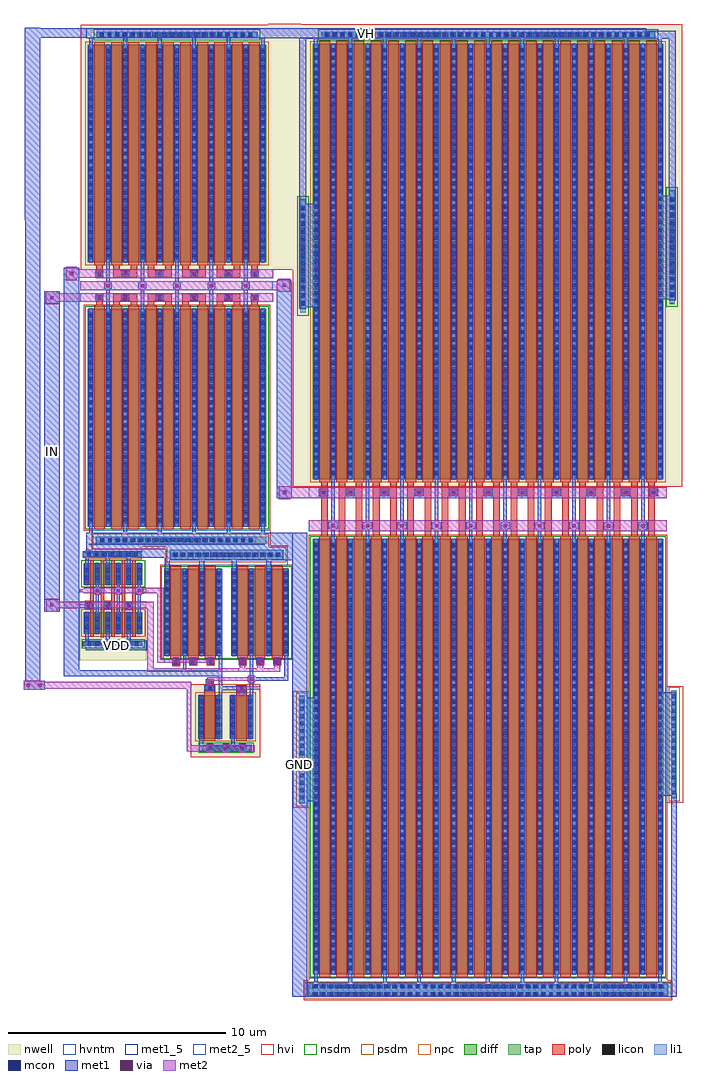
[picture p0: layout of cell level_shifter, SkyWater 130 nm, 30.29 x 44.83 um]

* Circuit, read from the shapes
.subckt level_shifter GND IN VDD VH
XM1 cruzados_3/IN1 IN GND GND sky130_fd_pr__nfet_01v8 w=1 l=0.15 m=5
XM2 inv_400_1/IN IN GND GND sky130_fd_pr__nfet_g5v0d10v5 w=10 l=0.5 m=10
XM3 cruzados_3/OUT cruzados_3/IN1 GND GND sky130_fd_pr__nfet_g5v0d10v5 w=4 l=0.5 m=3
XM4 n1 IN GND GND sky130_fd_pr__nfet_g5v0d10v5 w=4 l=0.5 m=3
XM5 inv_400_1/OUT inv_400_1/IN GND GND sky130_fd_pr__nfet_g5v0d10v5 w=20 l=0.5 m=20
XM6 cruzados_3/IN1 IN VDD VDD sky130_fd_pr__pfet_01v8 w=1 l=0.15 m=5
XM7 inv_400_1/IN cruzados_3/OUT VH VH sky130_fd_pr__pfet_g5v0d10v5 w=10 l=0.5 m=10
XM8 cruzados_3/OUT n1 VH VH sky130_fd_pr__pfet_g5v0d10v5 w=2 l=0.5
XM9 n1 cruzados_3/OUT VH VH sky130_fd_pr__pfet_g5v0d10v5 w=2 l=0.5
XM10 inv_400_1/OUT inv_400_1/IN VH VH sky130_fd_pr__pfet_g5v0d10v5 w=20 l=0.5 m=20
.ends

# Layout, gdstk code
import gdstk
lib = gdstk.Library(unit=1e-6, precision=1e-09)
def R(c, l, rs):  # rectangles x0, y0, x1, y1
    for r in rs: c.add(gdstk.rectangle(r[:2], r[2:], *l))
def A(c, l, x, y, w, h, nx, ny, dx, dy):  # array of equal rectangles
    R(c, l, [(x+i*dx, y+j*dy, x+i*dx+w, y+j*dy+h) for i in range(nx) for j in range(ny)])
nwell = (64, 20)
diff = (65, 20)
tap = (65, 44)
poly = (66, 20)
licon = (66, 44)
li1 = (67, 20)
mcon = (67, 44)
met1_5 = (68, 5)
met1 = (68, 20)
via = (68, 44)
met2_5 = (69, 5)
met2 = (69, 20)
hvi = (75, 20)
nsdm = (93, 44)
psdm = (94, 20)
npc = (95, 20)
hvntm = (125, 20)

sky130_fd_pr__pfet_g5v0d = lib.new_cell('sky130_fd_pr__pfet_g5v0d10v5_VEZS85')
R(sky130_fd_pr__pfet_g5v0d, nwell, [(-4.275,-5.31,4.275,5.31)])
R(sky130_fd_pr__pfet_g5v0d, diff, [(-4.095,-5,4.095,5)])
A(sky130_fd_pr__pfet_g5v0d, poly, -3.805, -5.13, 0.5, 10.26, 10, 1, 0.79, 0)
A(sky130_fd_pr__pfet_g5v0d, licon, -4.035, -4.845, 0.17, 0.17, 11, 29, 0.79, 0.34)
A(sky130_fd_pr__pfet_g5v0d, li1, -4.035, -5.02, 0.17, 10.04, 11, 1, 0.79, 0)
A(sky130_fd_pr__pfet_g5v0d, mcon, -4.035, -4.765, 0.17, 0.17, 11, 27, 0.79, 0.36)
A(sky130_fd_pr__pfet_g5v0d, met1, -4.065, -5, 0.23, 10, 11, 1, 0.79, 0)
R(sky130_fd_pr__pfet_g5v0d, hvi, [(-4.275,-5.31,4.275,-5.185), (-4.28,-5.185,4.28,5.185), (-4.275,5.185,4.275,5.31)])
R(sky130_fd_pr__pfet_g5v0d, psdm, [(-4.22,-5.125,4.22,5.125)])

sky130_fd_pr__nfet_g5v0d = lib.new_cell('sky130_fd_pr__nfet_g5v0d10v5_PVZBWB')
R(sky130_fd_pr__nfet_g5v0d, diff, [(-4.095,-5,4.095,5)])
A(sky130_fd_pr__nfet_g5v0d, poly, -3.805, -5.13, 0.5, 10.26, 10, 1, 0.79, 0)
A(sky130_fd_pr__nfet_g5v0d, licon, -4.035, -4.845, 0.17, 0.17, 11, 29, 0.79, 0.34)
A(sky130_fd_pr__nfet_g5v0d, li1, -4.035, -5.02, 0.17, 10.04, 11, 1, 0.79, 0)
A(sky130_fd_pr__nfet_g5v0d, mcon, -4.035, -4.765, 0.17, 0.17, 11, 27, 0.79, 0.36)
A(sky130_fd_pr__nfet_g5v0d, met1, -4.065, -5, 0.23, 10, 11, 1, 0.79, 0)
R(sky130_fd_pr__nfet_g5v0d, hvi, [(-4.28,-5.185,4.28,5.185)])
R(sky130_fd_pr__nfet_g5v0d, nsdm, [(-4.22,-5.125,4.22,5.125)])
R(sky130_fd_pr__nfet_g5v0d, hvntm, [(-4.28,-5.185,4.28,5.185)])

cont_poly_min = lib.new_cell('cont_poly_min')
R(cont_poly_min, poly, [(-0.165,0.165,0.165,0.495)])
R(cont_poly_min, licon, [(-0.085,0.245,0.085,0.415)])
R(cont_poly_min, li1, [(-0.165,0.245,0.165,0.415)])
R(cont_poly_min, mcon, [(-0.085,0.245,0.085,0.415)])
R(cont_poly_min, met1, [(-0.145,0.215,0.145,0.445)])
R(cont_poly_min, npc, [(-0.185,0.145,0.185,0.515)])

stage_100 = lib.new_cell('stage_100')
R(stage_100, nwell, [(-0.05,-0.03,8.8,11.22)])
R(stage_100, tap, [(0.64,-12.63,8.07,-12.29), (0.67,10.63,8.08,10.89)])
A(stage_100, poly, 1.46, -2.48, 0.3, 1.01, 4, 1, 0.79, 0)
A(stage_100, poly, 4.62, -2.48, 0.3, 1, 4, 1, 0.79, 0)
A(stage_100, poly, 4.62, -1.15, 0.3, 0.01, 4, 1, 0.79, 0)
A(stage_100, poly, 1.46, -0.39, 0.3, 0.01, 4, 1, 0.79, 0)
A(stage_100, poly, 4.62, -0.06, 0.3, 0.36, 4, 1, 0.79, 0)
A(stage_100, poly, 1.46, -0.05, 0.3, 0.35, 4, 1, 0.79, 0)
R(stage_100, poly, [(7.78,-2.48,8.08,-1.12), (0.67,-2.43,0.97,-1.12), (4.62,-1.48,5.71,-1.15), (6.2,-1.48,7.29,-1.15), (1.46,-1.47,2.55,-1.14), (3.04,-1.47,4.13,-1.14), (0.67,-0.42,0.97,0.25), (7.78,-0.42,8.08,0.3), (4.62,-0.39,5.71,-0.06), (6.2,-0.39,7.29,-0.06), (1.46,-0.38,2.55,-0.05), (3.04,-0.38,4.13,-0.05)])
A(stage_100, licon, 0.87, -12.545, 0.17, 0.17, 21, 1, 0.34, 0)
A(stage_100, licon, 0.855, 10.675, 0.17, 0.17, 21, 1, 0.34, 0)
R(stage_100, li1, [(0.68,-12.63,8.03,-12.29), (0.71,10.63,8.04,10.89)])
A(stage_100, mcon, 0.85, -12.54, 0.17, 0.17, 20, 1, 0.36, 0)
A(stage_100, mcon, 0.835, 10.675, 0.17, 0.17, 20, 1, 0.36, 0)
R(stage_100, met1_5, [(0.34,-12.66,8.41,-12.63), (0.22,10.89,8.53,10.92)])
A(stage_100, met1, 0.34, -12.13, 0.17, 0.37, 6, 1, 1.58, 0)
A(stage_100, met1, 1.13, -2.54, 0.17, 1.64, 5, 1, 1.58, 0)
A(stage_100, met1, 4.2, -0.9, 0.36, 0.26, 3, 1, 1.58, 0)
A(stage_100, met1, 1.13, -0.64, 0.17, 1, 5, 1, 1.58, 0)
A(stage_100, met1, 0.34, 10.24, 0.17, 0.36, 6, 1, 1.58, 0)
R(stage_100, met1, [(0.34,-12.66,8.41,-12.13), (0.63,-1.44,0.99,-1.18), (1.82,-1.44,2.18,-1.18), (3.39,-1.44,3.75,-1.18), (4.98,-1.44,5.34,-1.18), (6.55,-1.44,6.91,-1.18), (7.77,-1.44,8.13,-1.18), (1.03,-0.9,1.39,-0.64), (2.61,-0.9,2.97,-0.64), (0.63,-0.35,0.99,-0.09), (1.82,-0.35,2.18,-0.09), (3.39,-0.35,3.75,-0.09), (4.98,-0.35,5.34,-0.09), (6.55,-0.35,6.91,-0.09), (7.77,-0.35,8.13,-0.09), (0.22,10.6,8.53,10.92)])
A(stage_100, via, 4.305, -0.845, 0.15, 0.15, 3, 1, 1.58, 0)
R(stage_100, via, [(0.735,-1.385,0.885,-1.235), (1.925,-1.385,2.075,-1.235), (3.495,-1.385,3.645,-1.235), (5.085,-1.385,5.235,-1.235), (6.655,-1.385,6.805,-1.235), (7.875,-1.385,8.025,-1.235), (1.135,-0.845,1.285,-0.695), (2.715,-0.845,2.865,-0.695), (0.735,-0.295,0.885,-0.145), (1.925,-0.295,2.075,-0.145), (3.495,-0.295,3.645,-0.145), (5.085,-0.295,5.235,-0.145), (6.655,-0.295,6.805,-0.145), (7.875,-0.295,8.025,-0.145)])
R(stage_100, met2_5, [(-0.06,-1.51,0.68,-1.12), (7.67,-0.97,8.78,-0.57)])
R(stage_100, met2, [(-0.06,-1.51,8.79,-1.12), (-0.07,-0.97,8.78,-0.57), (0.68,-0.42,8.79,-0.02)])
R(stage_100, hvi, [(0.455,-12.88,8.255,-12.015), (-0.05,-0.03,8.8,11.22)])
R(stage_100, nsdm, [(0.545,10.505,8.205,11.015)])
R(stage_100, psdm, [(0.515,-12.755,8.195,-12.165)])
stage_100.add(gdstk.Reference(sky130_fd_pr__pfet_g5v0d, (4.375,5.3)))
stage_100.add(gdstk.Reference(sky130_fd_pr__nfet_g5v0d, (4.375,-6.83)))
stage_100.add(gdstk.Reference(cont_poly_min, (7.955,-1.645)))
stage_100.add(gdstk.Reference(cont_poly_min, (6.735,-1.645)))
stage_100.add(gdstk.Reference(cont_poly_min, (5.165,-1.645)))
stage_100.add(gdstk.Reference(cont_poly_min, (3.575,-1.635)))
stage_100.add(gdstk.Reference(cont_poly_min, (2.005,-1.635)))
stage_100.add(gdstk.Reference(cont_poly_min, (0.815,-1.645)))
stage_100.add(gdstk.Reference(cont_poly_min, (6.735,-0.555)))
stage_100.add(gdstk.Reference(cont_poly_min, (5.165,-0.555)))
stage_100.add(gdstk.Reference(cont_poly_min, (3.575,-0.545)))
stage_100.add(gdstk.Reference(cont_poly_min, (2.005,-0.545)))
stage_100.add(gdstk.Reference(cont_poly_min, (0.815,-0.555)))
stage_100.add(gdstk.Reference(cont_poly_min, (7.955,-0.555)))
stage_100.add(gdstk.Label('VH', (4.375,10.905), layer=68, texttype=5))
stage_100.add(gdstk.Label('OUT', (8.225,-0.77), layer=69, texttype=5))
stage_100.add(gdstk.Label('GND', (4.375,-12.645), layer=68, texttype=5))
stage_100.add(gdstk.Label('B', (0.31,-1.315), layer=69, texttype=5))

c_sky130_fd_pr__pfet_g5v0d = lib.new_cell('sky130_fd_pr__pfet_g5v0d10v5_VJVCZ4')
R(c_sky130_fd_pr__pfet_g5v0d, nwell, [(-8.225,-10.31,8.225,10.31)])
R(c_sky130_fd_pr__pfet_g5v0d, diff, [(-8.045,-10,8.045,10)])
A(c_sky130_fd_pr__pfet_g5v0d, poly, -7.755, -10.13, 0.5, 20.26, 20, 1, 0.79, 0)
A(c_sky130_fd_pr__pfet_g5v0d, licon, -7.985, -9.775, 0.17, 0.17, 21, 58, 0.79, 0.34)
A(c_sky130_fd_pr__pfet_g5v0d, li1, -7.985, -10.02, 0.17, 20.04, 21, 1, 0.79, 0)
A(c_sky130_fd_pr__pfet_g5v0d, mcon, -7.985, -9.805, 0.17, 0.17, 21, 55, 0.79, 0.36)
A(c_sky130_fd_pr__pfet_g5v0d, met1, -8.015, -10, 0.23, 20, 21, 1, 0.79, 0)
R(c_sky130_fd_pr__pfet_g5v0d, hvi, [(-8.225,-10.31,8.225,-10.185), (-8.23,-10.185,8.23,10.185), (-8.225,10.185,8.225,10.31)])
R(c_sky130_fd_pr__pfet_g5v0d, psdm, [(-8.17,-10.125,8.17,10.125)])

c_sky130_fd_pr__nfet_g5v0d = lib.new_cell('sky130_fd_pr__nfet_g5v0d10v5_PPR2BY')
R(c_sky130_fd_pr__nfet_g5v0d, diff, [(-8.045,-10,8.045,10)])
A(c_sky130_fd_pr__nfet_g5v0d, poly, -7.755, -10.13, 0.5, 20.26, 20, 1, 0.79, 0)
A(c_sky130_fd_pr__nfet_g5v0d, licon, -7.985, -9.775, 0.17, 0.17, 21, 58, 0.79, 0.34)
A(c_sky130_fd_pr__nfet_g5v0d, li1, -7.985, -10.02, 0.17, 20.04, 21, 1, 0.79, 0)
A(c_sky130_fd_pr__nfet_g5v0d, mcon, -7.985, -9.805, 0.17, 0.17, 21, 55, 0.79, 0.36)
A(c_sky130_fd_pr__nfet_g5v0d, met1, -8.015, -10, 0.23, 20, 21, 1, 0.79, 0)
R(c_sky130_fd_pr__nfet_g5v0d, hvi, [(-8.23,-10.185,8.23,10.185)])
R(c_sky130_fd_pr__nfet_g5v0d, nsdm, [(-8.17,-10.125,8.17,10.125)])
R(c_sky130_fd_pr__nfet_g5v0d, hvntm, [(-8.23,-10.185,8.23,10.185)])

inv_400 = lib.new_cell('inv_400')
R(inv_400, nwell, [(-1.52,184.22,16.37,205.46)])
R(inv_400, tap, [(-0.83,160.83,15.73,161.36), (-1.23,169.66,-0.97,174.64), (15.86,169.9,16.12,174.88), (-1.19,192.2,-0.92,197.44), (15.76,192.61,16.03,197.85), (-0.22,204.84,15.13,205.11)])
A(inv_400, poly, 0.58, 181.79, 0.3, 2, 18, 1, 0.79, 0)
A(inv_400, poly, 0.58, 183.79, 1.09, 0.33, 9, 1, 1.58, 0)
A(inv_400, poly, 0.58, 184.12, 0.3, 0.46, 9, 1, 1.58, 0)
A(inv_400, poly, 1.37, 184.12, 0.3, 0.45, 9, 1, 1.58, 0)
R(inv_400, poly, [(-0.21,181.79,0.09,184.57), (14.8,181.79,15.1,184.58)])
A(inv_400, licon, -0.625, 160.84, 0.17, 0.17, 48, 2, 0.34, 0.34)
A(inv_400, licon, -1.185, 169.855, 0.17, 0.17, 1, 14, 0, 0.34)
A(inv_400, licon, 15.905, 170.095, 0.17, 0.17, 1, 14, 0, 0.34)
A(inv_400, licon, -1.145, 192.535, 0.17, 0.17, 1, 14, 0, 0.34)
A(inv_400, licon, 15.815, 192.925, 0.17, 0.17, 1, 14, 0, 0.34)
A(inv_400, licon, 0.01, 204.89, 0.17, 0.17, 44, 1, 0.34, 0)
R(inv_400, li1, [(-0.79,160.83,15.69,161.36), (-1.23,169.7,-0.97,174.6), (15.86,169.94,16.12,174.84), (-1.19,192.24,-0.92,197.4), (15.76,192.65,16.03,197.81), (-0.18,204.84,15.09,205.11)])
A(inv_400, mcon, -0.555, 160.83, 0.17, 0.17, 45, 2, 0.36, 0.36)
A(inv_400, mcon, -1.145, 192.585, 0.17, 0.17, 1, 13, 0, 0.36)
A(inv_400, mcon, 15.815, 192.975, 0.17, 0.17, 1, 13, 0, 0.36)
A(inv_400, mcon, -0.06, 204.89, 0.17, 0.17, 42, 1, 0.36, 0)
A(inv_400, met1, 1.83, 181.79, 0.16, 0.47, 7, 1, 1.58, 0)
A(inv_400, met1, 6.44, 182.26, 0.43, 0.33, 4, 1, 1.58, 0)
A(inv_400, met1, 1.83, 182.59, 0.16, 1.98, 7, 1, 1.58, 0)
A(inv_400, met1, 0.9, 183.79, 0.43, 0.33, 4, 1, 1.58, 0)
A(inv_400, met1, 1.03, 204.45, 0.18, 0.35, 10, 1, 1.58, 0)
R(inv_400, met1, [(-1.24,160.79,16.12,161.43), (-1.24,161.43,-0.97,169.78), (-0.54,161.43,-0.37,161.91), (1.03,161.43,1.2,161.92), (2.62,161.43,2.79,161.92), (4.19,161.43,4.36,161.92), (5.78,161.43,5.95,161.92), (7.35,161.43,7.52,161.92), (8.94,161.43,9.11,161.92), (10.51,161.43,10.68,161.92), (12.1,161.43,12.27,161.91), (13.67,161.43,13.84,161.91), (15.26,161.43,15.43,161.91), (15.85,161.43,16.12,170.03), (-1.24,169.78,-0.45,169.92), (-1.23,169.92,-0.45,174.52), (15.34,170.03,16.12,170.12), (15.34,170.12,16.06,174.77), (0.25,181.79,0.41,182.27), (12.89,181.79,13.05,182.25), (14.47,181.79,14.63,182.25), (12.76,182.25,13.19,182.58), (14.34,182.25,14.77,182.58), (1.7,182.26,2.13,182.59), (3.28,182.26,3.71,182.59), (4.87,182.26,5.3,182.59), (0.11,182.27,0.54,182.6), (12.89,182.58,13.05,184.57), (14.47,182.58,14.63,184.57), (0.25,182.6,0.41,184.57), (-0.32,183.79,0.11,184.12), (7.23,183.79,7.66,184.12), (8.81,183.79,9.24,184.12), (10.38,183.79,10.81,184.12), (11.96,183.79,12.39,184.12), (13.55,183.79,13.98,184.12), (14.84,183.79,15.27,184.12), (-1.22,192.4,-0.9,192.46), (-1.22,192.46,-0.49,197.21), (15.74,192.79,16.06,192.84), (15.41,192.84,16.06,197.59), (-1.22,197.21,-0.9,204.8), (15.74,197.59,16.06,204.8), (-0.55,204.45,-0.38,204.8), (-1.22,204.8,16.06,205.16)])
A(inv_400, via, 6.58, 182.35, 0.15, 0.15, 4, 1, 1.58, 0)
A(inv_400, via, 1.04, 183.88, 0.15, 0.15, 4, 1, 1.58, 0)
R(inv_400, via, [(12.9,182.34,13.05,182.49), (14.48,182.34,14.63,182.49), (1.84,182.35,1.99,182.5), (3.42,182.35,3.57,182.5), (5.01,182.35,5.16,182.5), (0.25,182.36,0.4,182.51), (-0.18,183.88,-0.03,184.03), (7.37,183.88,7.52,184.03), (8.95,183.88,9.1,184.03), (10.52,183.88,10.67,184.03), (12.1,183.88,12.25,184.03), (13.69,183.88,13.84,184.03), (14.98,183.88,15.13,184.03)])
R(inv_400, met2_5, [(14.72,182.18,15.65,182.68), (-0.8,183.7,-0.27,184.2)])
R(inv_400, met2, [(-0.8,182.18,15.65,182.68), (-0.8,183.7,15.65,184.2)])
R(inv_400, hvi, [(-1.015,160.645,15.915,161.545), (-0.785,161.545,15.675,161.635), (-1.52,169.475,-0.68,174.825), (15.57,169.715,16.41,175.065), (-1.52,184.22,16.37,205.46)])
R(inv_400, nsdm, [(-1.315,192.075,-0.795,197.565), (15.635,192.485,16.155,197.975), (-0.345,204.715,15.255,205.235)])
R(inv_400, psdm, [(-0.955,160.705,15.855,161.485), (-1.355,169.535,-0.845,174.765), (15.735,169.775,16.245,175.005)])
inv_400.add(gdstk.Reference(c_sky130_fd_pr__pfet_g5v0d, (7.445,194.56)))
inv_400.add(gdstk.Reference(c_sky130_fd_pr__nfet_g5v0d, (7.445,171.82)))
inv_400.add(gdstk.Reference(cont_poly_min, (15.055,183.625)))
inv_400.add(gdstk.Reference(cont_poly_min, (13.765,183.625)))
inv_400.add(gdstk.Reference(cont_poly_min, (12.175,183.625)))
inv_400.add(gdstk.Reference(cont_poly_min, (10.595,183.625)))
inv_400.add(gdstk.Reference(cont_poly_min, (9.025,183.625)))
inv_400.add(gdstk.Reference(cont_poly_min, (7.445,183.625)))
inv_400.add(gdstk.Reference(cont_poly_min, (5.855,183.625)))
inv_400.add(gdstk.Reference(cont_poly_min, (4.275,183.625)))
inv_400.add(gdstk.Reference(cont_poly_min, (2.695,183.625)))
inv_400.add(gdstk.Reference(cont_poly_min, (1.115,183.625)))
inv_400.add(gdstk.Reference(cont_poly_min, (-0.105,183.625)))
inv_400.add(gdstk.Label('IN', (-0.535,183.95), layer=69, texttype=5))
inv_400.add(gdstk.Label('OUT', (15.185,182.43), layer=69, texttype=5))

sky130_fd_pr__pfet_01v8_ = lib.new_cell('sky130_fd_pr__pfet_01v8_5S5LDE')
R(sky130_fd_pr__pfet_01v8_, nwell, [(-1.525,-1,1.525,0.81), (-1.045,0.81,1.045,1)])
R(sky130_fd_pr__pfet_01v8_, diff, [(-1.345,-0.5,1.345,0.5)])
A(sky130_fd_pr__pfet_01v8_, poly, -1.035, -0.655, 0.15, 1.285, 3, 1, 0.96, 0)
R(sky130_fd_pr__pfet_01v8_, poly, [(-0.555,-0.63,-0.405,0.655), (0.405,-0.63,0.555,0.655)])
A(sky130_fd_pr__pfet_01v8_, licon, -1.285, -0.425, 0.17, 0.17, 6, 3, 0.48, 0.34)
A(sky130_fd_pr__pfet_01v8_, li1, -1.285, -0.52, 0.17, 1.04, 6, 1, 0.48, 0)
A(sky130_fd_pr__pfet_01v8_, mcon, -1.285, -0.265, 0.17, 0.17, 6, 2, 0.48, 0.36)
A(sky130_fd_pr__pfet_01v8_, met1, -1.315, -0.5, 0.23, 1, 6, 1, 0.48, 0)
R(sky130_fd_pr__pfet_01v8_, psdm, [(-1.47,-0.625,1.47,0.625)])

sky130_fd_pr__nfet_01v8_ = lib.new_cell('sky130_fd_pr__nfet_01v8_RBMM6F')
R(sky130_fd_pr__nfet_01v8_, diff, [(-1.345,-0.5,1.345,0.5)])
A(sky130_fd_pr__nfet_01v8_, poly, -1.035, -0.63, 0.15, 1.26, 5, 1, 0.48, 0)
A(sky130_fd_pr__nfet_01v8_, licon, -1.285, -0.425, 0.17, 0.17, 6, 3, 0.48, 0.34)
A(sky130_fd_pr__nfet_01v8_, li1, -1.285, -0.52, 0.17, 1.04, 6, 1, 0.48, 0)
A(sky130_fd_pr__nfet_01v8_, mcon, -1.285, -0.265, 0.17, 0.17, 6, 2, 0.48, 0.36)
A(sky130_fd_pr__nfet_01v8_, met1, -1.315, -0.5, 0.23, 1, 6, 1, 0.48, 0)
R(sky130_fd_pr__nfet_01v8_, nsdm, [(-1.47,-0.625,1.47,0.625)])

inv_1_8 = lib.new_cell('inv_1_8')
R(inv_1_8, nwell, [(-0.05,4.195,3,5.095)])
R(inv_1_8, tap, [(0.355,0.145,2.67,0.34), (0.165,4.25,2.8,4.42)])
R(inv_1_8, poly, [(1.88,1.425,2.03,3.06), (0.92,1.43,1.07,3.065), (2.36,1.43,2.51,3.065), (1.4,1.435,1.55,3.07), (0.44,1.46,0.59,3.015)])
A(inv_1_8, licon, 0.575, 0.155, 0.17, 0.17, 6, 1, 0.34, 0)
A(inv_1_8, licon, 0.535, 4.25, 0.17, 0.17, 6, 1, 0.34, 0)
R(inv_1_8, li1, [(0.15,0.125,2.76,0.355), (0.135,4.245,2.81,4.425)])
A(inv_1_8, mcon, 0.29, 0.155, 0.17, 0.17, 7, 1, 0.36, 0)
A(inv_1_8, mcon, 0.305, 4.25, 0.17, 0.17, 7, 1, 0.36, 0)
R(inv_1_8, met1_5, [(0.09,0.095,2.82,0.125), (0.075,4.425,2.87,4.455)])
R(inv_1_8, met1, [(0.09,0.095,2.82,0.385), (0.19,0.385,0.36,0.66), (1.15,0.385,1.32,0.66), (2.11,0.385,2.28,0.665), (1.64,1.43,1.79,1.77), (2.6,1.43,2.75,1.775), (0.68,1.47,0.83,1.77), (0.58,1.77,0.94,2.03), (1.54,1.77,1.9,2.03), (2.495,1.775,2.855,2.035), (0.68,2.03,0.83,3.105), (1.64,2.03,1.79,3.11), (2.6,2.035,2.75,3.11), (0.175,2.47,0.535,2.73), (1.055,2.475,1.415,2.735), (2.02,2.485,2.38,2.745), (2.11,3.875,2.28,4.215), (0.19,3.88,0.36,4.215), (1.15,3.88,1.32,4.215), (0.075,4.215,2.87,4.455)])
R(inv_1_8, via, [(0.685,1.825,0.835,1.975), (1.645,1.825,1.795,1.975), (2.6,1.83,2.75,1.98), (0.28,2.525,0.43,2.675), (1.16,2.53,1.31,2.68), (2.125,2.54,2.275,2.69)])
R(inv_1_8, met2_5, [(2.805,1.835,3,1.975), (-0.05,2.535,0.225,2.675)])
R(inv_1_8, met2, [(0.63,1.72,0.89,1.835), (1.59,1.72,1.85,1.835), (2.545,1.725,2.805,1.835), (-0.055,1.835,3,1.975), (0.63,1.975,0.89,2.08), (1.59,1.975,1.85,2.08), (2.545,1.975,2.805,2.085), (0.225,2.42,0.485,2.535), (1.105,2.425,1.365,2.535), (2.07,2.435,2.33,2.535), (-0.05,2.535,3,2.675), (0.225,2.675,0.485,2.78), (1.105,2.675,1.365,2.785), (2.07,2.675,2.33,2.795)])
R(inv_1_8, nsdm, [(0.04,4.125,2.925,4.545)])
R(inv_1_8, psdm, [(0.23,0.02,2.795,0.465)])
inv_1_8.add(gdstk.Reference(sky130_fd_pr__pfet_01v8_, (1.475,3.385)))
inv_1_8.add(gdstk.Reference(sky130_fd_pr__nfet_01v8_, (1.475,1.13)))
inv_1_8.add(gdstk.Reference(cont_poly_min, (2.195,2.235)))
inv_1_8.add(gdstk.Reference(cont_poly_min, (1.235,2.22)))
inv_1_8.add(gdstk.Reference(cont_poly_min, (0.355,2.22)))
inv_1_8.add(gdstk.Label('GND', (1.455,0.11), layer=68, texttype=5))
inv_1_8.add(gdstk.Label('OUT', (2.902,1.905), layer=69, texttype=5))
inv_1_8.add(gdstk.Label('IN', (0.087,2.605), layer=69, texttype=5))
inv_1_8.add(gdstk.Label('VDD', (1.472,4.44), layer=68, texttype=5))

c_sky130_fd_pr__pfet_g5v0d_ = lib.new_cell('sky130_fd_pr__pfet_g5v0d10v5_BUUKVD')
R(c_sky130_fd_pr__pfet_g5v0d_, nwell, [(-0.72,-1.32,0.72,1.49)])
R(c_sky130_fd_pr__pfet_g5v0d_, diff, [(-0.54,-0.82,0.54,1.18)])
R(c_sky130_fd_pr__pfet_g5v0d_, poly, [(-0.25,-1.305,0.25,1.31)])
A(c_sky130_fd_pr__pfet_g5v0d_, licon, -0.48, -0.755, 0.17, 0.17, 1, 6, 0, 0.34)
A(c_sky130_fd_pr__pfet_g5v0d_, licon, 0.31, -0.755, 0.17, 0.17, 1, 6, 0, 0.34)
R(c_sky130_fd_pr__pfet_g5v0d_, licon, [(-0.085,-1.225,0.085,-1.055)])
R(c_sky130_fd_pr__pfet_g5v0d_, li1, [(-0.25,-1.225,0.25,-1.055), (-0.48,-0.84,-0.31,1.2), (0.31,-0.84,0.48,1.2)])
A(c_sky130_fd_pr__pfet_g5v0d_, mcon, -0.48, -0.625, 0.17, 0.17, 1, 5, 0, 0.36)
A(c_sky130_fd_pr__pfet_g5v0d_, mcon, 0.31, -0.625, 0.17, 0.17, 1, 5, 0, 0.36)
R(c_sky130_fd_pr__pfet_g5v0d_, mcon, [(-0.085,-1.225,0.085,-1.055)])
R(c_sky130_fd_pr__pfet_g5v0d_, met1, [(-0.23,-1.255,0.23,-1.025), (-0.51,-0.82,-0.28,1.18), (0.28,-0.82,0.51,1.18)])
R(c_sky130_fd_pr__pfet_g5v0d_, hvi, [(-0.72,-1.32,0.72,-1.005), (-0.725,-1.005,0.725,1.365), (-0.72,1.365,0.72,1.49)])
R(c_sky130_fd_pr__pfet_g5v0d_, psdm, [(-0.665,-0.945,0.665,1.305)])
R(c_sky130_fd_pr__pfet_g5v0d_, npc, [(-0.185,-1.325,0.185,-0.955)])

c_sky130_fd_pr__nfet_g5v0d_ = lib.new_cell('sky130_fd_pr__nfet_g5v0d10v5_C7Z2GC')
R(c_sky130_fd_pr__nfet_g5v0d_, diff, [(-1.33,-2,1.33,2)])
A(c_sky130_fd_pr__nfet_g5v0d_, poly, -1.04, -2.13, 0.5, 4.26, 3, 1, 0.79, 0)
A(c_sky130_fd_pr__nfet_g5v0d_, licon, -1.27, -1.785, 0.17, 0.17, 4, 11, 0.79, 0.34)
A(c_sky130_fd_pr__nfet_g5v0d_, li1, -1.27, -2.02, 0.17, 4.04, 4, 1, 0.79, 0)
A(c_sky130_fd_pr__nfet_g5v0d_, mcon, -1.27, -1.885, 0.17, 0.17, 4, 11, 0.79, 0.36)
A(c_sky130_fd_pr__nfet_g5v0d_, met1, -1.3, -2, 0.23, 4, 4, 1, 0.79, 0)
R(c_sky130_fd_pr__nfet_g5v0d_, hvi, [(-1.515,-2.185,1.515,2.185)])
R(c_sky130_fd_pr__nfet_g5v0d_, nsdm, [(-1.455,-2.125,1.455,2.125)])
R(c_sky130_fd_pr__nfet_g5v0d_, hvntm, [(-1.515,-2.185,1.515,2.185)])

cruzados = lib.new_cell('cruzados')
R(cruzados, nwell, [(-0.15,0,3.04,3.36)])
R(cruzados, tap, [(-1.13,-6.17,4.11,-5.72), (0.34,2.82,2.6,3.03)])
A(cruzados, licon, -0.975, -6.03, 0.17, 0.17, 15, 1, 0.34, 0)
A(cruzados, licon, 0.55, 2.84, 0.17, 0.17, 6, 1, 0.34, 0)
R(cruzados, li1, [(-1.09,-6.17,4.07,-5.72), (0.38,2.82,2.56,3.03)])
A(cruzados, mcon, -0.935, -6.03, 0.17, 0.17, 14, 1, 0.36, 0)
A(cruzados, mcon, 0.68, 2.84, 0.17, 0.17, 5, 1, 0.36, 0)
R(cruzados, met1_5, [(0.24,3.05,2.64,3.08)])
A(cruzados, met1, -1.01, -1.19, 0.36, 0.26, 3, 1, 0.79, 0)
R(cruzados, met1, [(-1.35,-6.2,4.09,-5.69), (-1.35,-5.69,-1.12,-5.09), (0.23,-5.69,0.46,-5.12), (1.72,-5.69,1.95,-5.09), (3.3,-5.69,3.53,-5.17), (1.13,-5.31,1.29,-0.53), (4.13,-5.24,4.32,-0.32), (2.55,-2.75,2.71,-0.42), (-0.51,-1.38,-0.36,-0.53), (2.04,-1.19,2.4,-0.93), (2.85,-1.19,3.21,-0.93), (3.63,-1.19,3.99,-0.93), (-1.01,-0.93,-0.96,-0.92), (-0.7,-0.93,-0.65,-0.92), (-0.51,-0.53,1.29,-0.36), (2.5,-0.42,2.71,-0.37), (2.45,-0.37,2.81,-0.32), (1.13,-0.36,1.29,0.09), (2.45,-0.32,4.32,-0.15), (0.54,-0.22,0.9,0.19), (2.45,-0.15,2.81,-0.11), (2.5,-0.11,2.71,-0.05), (2.55,-0.05,2.71,2.5), (1.13,0.09,2.4,0.27), (1.13,0.27,1.29,2.5), (1.99,0.27,2.35,0.4), (0.24,2.44,0.41,2.79), (1.69,2.44,1.86,2.79), (0.24,2.79,2.64,3.08)])
A(cruzados, via, -0.905, -1.135, 0.15, 0.15, 3, 1, 0.79, 0)
R(cruzados, via, [(2.145,-1.135,2.295,-0.985), (2.955,-1.135,3.105,-0.985), (3.735,-1.135,3.885,-0.985), (2.555,-0.315,2.705,-0.165), (0.645,-0.165,0.795,-0.015), (2.095,0.195,2.245,0.345)])
R(cruzados, met2_5, [(-1.38,-1.15,-0.96,-0.98), (-0.13,-0.74,2.05,-0.57), (2.3,0.09,3.04,0.26)])
A(cruzados, met2, -0.96, -1.24, 0.26, 0.09, 3, 1, 0.79, 0)
A(cruzados, met2, -0.96, -0.98, 0.26, 0.1, 3, 1, 0.79, 0)
R(cruzados, met2, [(2.09,-1.24,2.35,-0.74), (2.9,-1.24,3.16,-0.74), (3.68,-1.24,3.94,-0.74), (-1.38,-1.15,0.93,-0.98), (-1.38,-0.74,3.94,-0.57), (2.5,-0.42,2.76,-0.32), (0.59,-0.32,2.76,-0.15), (0.59,-0.15,0.85,0.09), (2.5,-0.15,2.76,-0.05), (1.92,0.09,3.04,0.26), (2.04,0.26,2.3,0.56)])
R(cruzados, hvi, [(-1.315,-6.365,4.295,-5.485), (1.465,-5.485,1.505,-1.115), (-0.15,0,3.04,3.36)])
R(cruzados, nsdm, [(1.405,-5.425,1.565,-1.175), (0.215,2.695,2.725,3.155)])
R(cruzados, psdm, [(-1.255,-6.295,4.235,-5.595), (1.385,0.375,1.505,2.625)])
R(cruzados, hvntm, [(1.465,-5.485,1.505,-1.115)])
cruzados.add(gdstk.Reference(c_sky130_fd_pr__pfet_g5v0d_, (2.17,1.32)))
cruzados.add(gdstk.Reference(c_sky130_fd_pr__pfet_g5v0d_, (0.72,1.32)))
cruzados.add(gdstk.Reference(c_sky130_fd_pr__nfet_g5v0d_, (3.02,-3.3)))
cruzados.add(gdstk.Reference(c_sky130_fd_pr__nfet_g5v0d_, (-0.05,-3.3)))
cruzados.add(gdstk.Reference(cont_poly_min, (-0.835,-1.345)))
cruzados.add(gdstk.Reference(cont_poly_min, (-0.045,-1.355)))
cruzados.add(gdstk.Reference(cont_poly_min, (0.755,-1.355)))
cruzados.add(gdstk.Reference(cont_poly_min, (2.225,-1.355)))
cruzados.add(gdstk.Reference(cont_poly_min, (3.035,-1.355)))
cruzados.add(gdstk.Reference(cont_poly_min, (3.815,-1.355)))
cruzados.add(gdstk.Label('OUT', (2.67,0.175), layer=69, texttype=5))
cruzados.add(gdstk.Label('VH', (1.44,3.065), layer=68, texttype=5))
cruzados.add(gdstk.Label('IN1', (-1.17,-1.065), layer=69, texttype=5))
cruzados.add(gdstk.Label('IN2', (0.96,-0.655), layer=69, texttype=5))

level_shifter = lib.new_cell('level_shifter')
R(level_shifter, nwell, [(-1,33.4,0.5,44.68)])
R(level_shifter, tap, [(-1.5,20.8,-1.1,21.14)])
R(level_shifter, met1_5, [(0.1,0,0.8,21.32), (-9.38,15.92,-6.59,16.35), (-11.28,18.24,-10.58,31.86), (-9.35,44.03,16.37,44.48)])
R(level_shifter, met1, [(0.1,0,0.8,20.05), (-3.88,11.27,-3.48,11.57), (-3.15,11.27,-2.75,11.57), (-2.38,11.27,-1.98,11.57), (-12.23,14.11,-11.27,14.52), (-12.17,14.52,-11.47,35.7), (-10.39,14.72,-3.13,14.99), (-10.39,14.99,-9.69,33.49), (-9.38,15.92,-6.59,16.35), (-11.28,17.69,-10.58,32.41), (-0.48,20.05,0.8,20.06), (-0.79,20.06,0.8,20.17), (-9.37,20.17,0.8,21.32), (-0.61,22.91,0.09,32.84), (-0.58,32.84,0.05,32.93), (-12.18,35.7,-11.47,38.69), (-12.18,38.69,-11.48,44.04), (-9.35,44.03,16.37,44.04), (-12.18,44.04,16.37,44.48), (-12.18,44.48,-9,44.49), (-12.18,44.49,-11.48,44.5)])
R(level_shifter, via, [(-3.755,11.345,-3.605,11.495), (-3.025,11.345,-2.875,11.495), (-2.255,11.345,-2.105,11.495), (-12.095,14.235,-11.945,14.385), (-11.555,14.235,-11.405,14.385), (-11.015,17.935,-10.865,18.085), (-0.33,23.085,-0.18,23.235), (-11.015,32.035,-10.865,32.185), (-0.34,32.605,-0.19,32.755), (-10.115,33.145,-9.965,33.295)])
R(level_shifter, met2, [(-3.83,11.22,-3.53,11.26), (-3.1,11.22,-2.8,11.26), (-2.33,11.22,-2.03,11.26), (-4.64,11.26,-1.61,11.27), (-4.74,11.27,-1.61,11.56), (-4.74,11.56,-4.53,14.16), (-3.83,11.56,-3.53,11.62), (-3.1,11.56,-2.8,11.62), (-2.33,11.56,-2.03,11.62), (-12.23,14.11,-11.27,14.16), (-12.23,14.16,-4.53,14.46), (-12.23,14.46,-11.27,14.52), (-6.56,14.93,-5.2,15.1), (-6.56,15.1,-6.26,17.84), (-6.1,15.34,-5.62,15.51), (-6.1,15.51,-5.8,18.525), (-11.19,17.69,-10.69,17.84), (-11.19,17.84,-6.26,18.14), (-11.19,18.14,-10.69,18.29), (-9.485,18.525,-5.8,18.79), (-0.52,22.86,0.01,22.91), (-0.52,22.91,1.96,23.41), (-0.52,23.41,0.01,23.46), (-11.19,31.81,-10.69,31.92), (-11.21,31.92,-8.92,32.31), (-11.19,32.31,-10.69,32.41), (-0.53,32.38,0,32.46), (-1.36,32.46,0,32.86), (-0.53,32.86,0,32.98), (-10.29,32.92,-9.79,33.02), (-10.29,33.02,-7.75,33.41), (-10.29,33.41,-9.79,33.52)])
R(level_shifter, hvi, [(-1.72,20.55,-0.88,21.39), (-1.315,21.39,-0.915,21.415), (-0.77,33.4,0.13,44.65), (-1,44.65,0.13,44.67), (-1,44.67,0.5,44.68)])
R(level_shifter, psdm, [(-9.055,20.535,-6.81,20.675), (-5.655,20.655,-0.975,20.675), (-1.625,20.675,-0.975,21.265)])
level_shifter.add(gdstk.Reference(stage_100, (-9.57,33.43)))
level_shifter.add(gdstk.Reference(inv_400, (1.65,-160.79)))
level_shifter.add(gdstk.Reference(inv_1_8, (-9.605,20.555), x_reflection=True))
level_shifter.add(gdstk.Reference(cruzados, (-4.4,14.36), x_reflection=True))
level_shifter.add(gdstk.Label('VDD', (-7.985,16.135), layer=68, texttype=5))
level_shifter.add(gdstk.Label('VH', (3.51,44.255), layer=68, texttype=5))
level_shifter.add(gdstk.Label('IN', (-10.93,25.05), layer=68, texttype=5))
level_shifter.add(gdstk.Label('GND', (0.45,10.66), layer=68, texttype=5))

lib.write_gds('level_shifter.gds')
